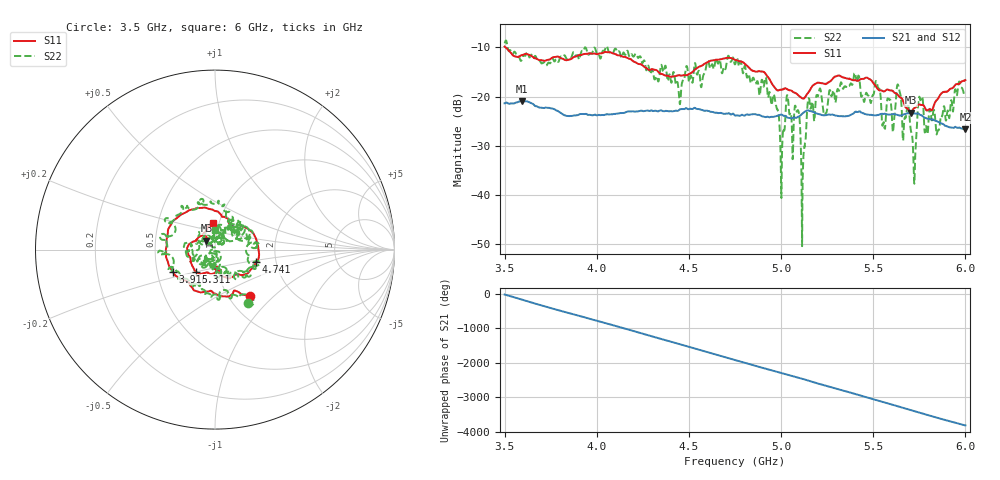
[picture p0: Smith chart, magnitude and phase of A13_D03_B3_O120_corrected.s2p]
! Created with skrf 1.9.0 (http://scikit-rf.org).
# Hz S RI R 50.0
!freq ReS11 ImS11 ReS21 ImS21 ReS12 ImS12 ReS22 ImS22
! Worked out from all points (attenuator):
!   1601 points, 3.5 GHz to 6 GHz, reference 50 ohm
!   highest |S21| = -20.93 dB at 3.592 GHz (marker M1); lowest = -26.6 dB at 6 GHz (marker M2)
!   lowest |S11| = -23.3 dB at 5.703 GHz (marker M3), VSWR 1.15, Z = 45.3 + j4.49 ohm
!   |S11| at or under -10 dB: 3.506 GHz to end of sweep
!   |S22| runs from -50.4 to -8.6 dB; largest |S21 - S12| = 0.001
!   S11 on the Smith chart (normalised r, x): 3.5 GHz: 1.26, -0.72; 3.916 GHz: 0.60, -0.16; 4.741 GHz: 1.58, -0.24; 5.311 GHz: 0.79, -0.20; 6 GHz: 0.94, +0.28
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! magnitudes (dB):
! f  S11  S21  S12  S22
! 3.5 GHz  -9.8  -21.4  -21.4  -9.2
! 3.592 GHz  -11.6  -20.9  -20.9  -12.6
! 3.916 GHz  -11.6  -23.6  -23.6  -11.0
! 3.917 GHz  -11.5  -23.6  -23.6  -10.8
! 4.334 GHz  -15.0  -23.0  -22.9  -16.9
! 4.741 GHz  -12.4  -23.5  -23.5  -12.1
! 4.75 GHz  -12.5  -23.9  -23.8  -13.5
! 4.966 GHz  -18.1  -24.0  -24.0  -20.3
! 5.005 GHz  -18.5  -23.7  -23.7  -32.1
! 5.034 GHz  -18.6  -24.3  -24.2  -19.7
! 5.086 GHz  -19.5  -24.3  -24.2  -23.1
! 5.119 GHz  -20.4  -23.4  -23.3  -34.5
! 5.145 GHz  -19.3  -22.8  -22.8  -20.9
! 5.167 GHz  -18.0  -23.0  -23.0  -21.2
! 5.311 GHz  -15.7  -24.0  -23.9  -18.7
! 5.558 GHz  -19.0  -23.5  -23.5  -25.4
! 5.584 GHz  -18.7  -23.6  -23.6  -20.5
! 5.703 GHz  -23.3  -23.5  -23.4  -26.7
! 5.722 GHz  -22.3  -23.4  -23.4  -37.5
! 5.756 GHz  -21.7  -23.7  -23.7  -20.7
! 5.85 GHz  -20.5  -25.1  -25.0  -26.9
! 6 GHz  -16.7  -26.6  -26.6  -19.4
